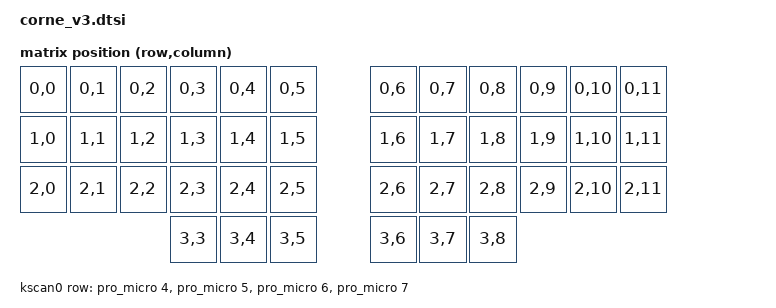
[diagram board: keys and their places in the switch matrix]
/*
 * Copyright (c) 2020 Pete Johanson
 *
 * SPDX-License-Identifier: MIT
 */

#include <dt-bindings/led/led.h>
#include <dt-bindings/zmk/matrix_transform.h>
#include <zephyr/dt-bindings/input/input-event-codes.h>
#include "corne_v3-layouts.dtsi"

/ {
	chosen {
		zephyr,display = &oled;
		zmk,kscan = &kscan0;
		zmk,physical-layout = &layout_0;
	};

	default_transform: keymap_transform_0 {
		compatible = "zmk,matrix-transform";
		columns = <12>;
		rows = <4>;
// | SW1  | SW2  | SW3  | SW4  | SW5  | SW6  |   | SW6  | SW5  | SW4  | SW3  | SW2  | SW1  |
// | SW7  | SW8  | SW9  | SW10 | SW11 | SW12 |   | SW12 | SW11 | SW10 | SW9  | SW8  | SW7  |
// | SW13 | SW14 | SW15 | SW16 | SW17 | SW18 |   | SW18 | SW17 | SW16 | SW15 | SW14 | SW13 |
//                      | SW19 | SW20 | SW21 |   | SW21 | SW20 | SW19 |
		map = <
RC(0,0) RC(0,1) RC(0,2) RC(0,3) RC(0,4) RC(0,5)  RC(0,6)  RC(0,7) RC(0,8) RC(0,9) RC(0,10) RC(0,11)
RC(1,0) RC(1,1) RC(1,2) RC(1,3) RC(1,4) RC(1,5)  RC(1,6)  RC(1,7) RC(1,8) RC(1,9) RC(1,10) RC(1,11)
RC(2,0) RC(2,1) RC(2,2) RC(2,3) RC(2,4) RC(2,5)  RC(2,6)  RC(2,7) RC(2,8) RC(2,9) RC(2,10) RC(2,11)
                        RC(3,3) RC(3,4) RC(3,5)  RC(3,6) RC(3,7) RC(3,8)
		>;
	};

	kscan0: kscan {
		compatible = "zmk,kscan-gpio-matrix";
		wakeup-source;

		diode-direction = "col2row";
		row-gpios
			= <&pro_micro 4 (GPIO_ACTIVE_HIGH | GPIO_PULL_DOWN)>
			, <&pro_micro 5 (GPIO_ACTIVE_HIGH | GPIO_PULL_DOWN)>
			, <&pro_micro 6 (GPIO_ACTIVE_HIGH | GPIO_PULL_DOWN)>
			, <&pro_micro 7 (GPIO_ACTIVE_HIGH | GPIO_PULL_DOWN)>
			;
	};

	/* Split pointing: trackball on right (peripheral) -> left (central) */
	split_inputs {
		#address-cells = <1>;
		#size-cells = <0>;

		trackball_split: trackball_split@0 {
			compatible = "zmk,input-split";
			reg = <0>;
		};

		trackball_btn_split: trackball_btn_split@1 {
			compatible = "zmk,input-split";
			reg = <1>;
		};
	};

	trackball_listener: trackball_listener {
		compatible = "zmk,input-listener";
		status = "disabled";
		device = <&trackball_split>;
	};

	trackball_btn_listener: trackball_btn_listener {
		compatible = "zmk,input-listener";
		status = "disabled";
		device = <&trackball_btn_split>;
	};
};

/* OLED / trackball I2C on D2 (SDA) / D3 (SCL) = P0.17 / P0.20 */
&pinctrl {
	i2c0_default: i2c0_default {
		group1 {
			psels = <NRF_PSEL(TWIM_SDA, 0, 17)>,
				<NRF_PSEL(TWIM_SCL, 0, 20)>;
		};
	};

	i2c0_sleep: i2c0_sleep {
		group1 {
			psels = <NRF_PSEL(TWIM_SDA, 0, 17)>,
				<NRF_PSEL(TWIM_SCL, 0, 20)>;
			low-power-enable;
		};
	};
};

&pro_micro_i2c {
	status = "okay";

	oled: ssd1306@3c {
		compatible = "solomon,ssd1306fb";
		reg = <0x3c>;
		width = <128>;
		height = <32>;
		segment-offset = <0>;
		page-offset = <0>;
		display-offset = <0>;
		multiplex-ratio = <31>;
		segment-remap;
		com-invdir;
		com-sequential;
		inversion-on;
		prechargep = <0x22>;
	};
};

/* RGB WS2812 on D1 = P0.06 — 6 underglow + 21 per-key */
&pinctrl {
	spi3_default: spi3_default {
		group1 {
			psels = <NRF_PSEL(SPIM_MOSI, 0, 6)>;
		};
	};

	spi3_sleep: spi3_sleep {
		group1 {
			psels = <NRF_PSEL(SPIM_MOSI, 0, 6)>;
			low-power-enable;
		};
	};
};

&spi3 {
	compatible = "nordic,nrf-spim";
	status = "okay";

	pinctrl-0 = <&spi3_default>;
	pinctrl-1 = <&spi3_sleep>;
	pinctrl-names = "default", "sleep";

	led_strip: ws2812@0 {
		compatible = "worldsemi,ws2812-spi";
		label = "WS2812";

		reg = <0>;
		spi-max-frequency = <4000000>;

		chain-length = <27>;
		spi-one-frame = <0x70>;
		spi-zero-frame = <0x40>;
		color-mapping = <LED_COLOR_ID_GREEN LED_COLOR_ID_RED LED_COLOR_ID_BLUE>;
	};
};

/ {
	chosen {
		zmk,underglow = &led_strip;
	};
};
